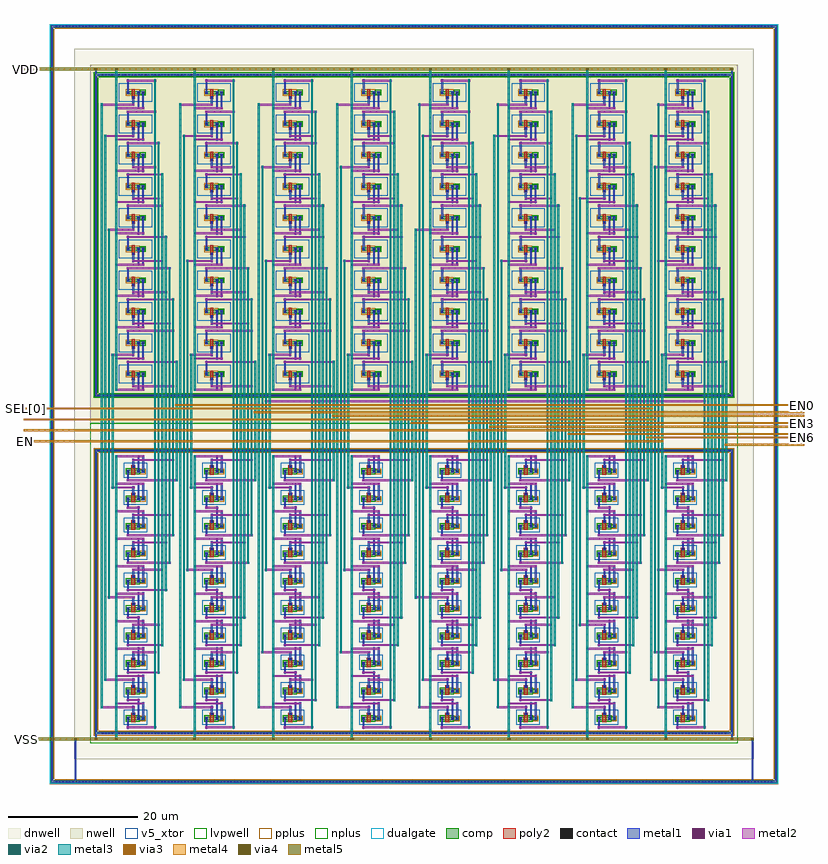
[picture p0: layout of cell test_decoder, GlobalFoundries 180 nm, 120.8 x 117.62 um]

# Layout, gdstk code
import gdstk
lib = gdstk.Library(unit=1e-6, precision=5e-09)
def R(c, l, rs):  # rectangles x0, y0, x1, y1
    for r in rs: c.add(gdstk.rectangle(r[:2], r[2:], *l))
def A(c, l, x, y, w, h, nx, ny, dx, dy):  # array of equal rectangles
    R(c, l, [(x+i*dx, y+j*dy, x+i*dx+w, y+j*dy+h) for i in range(nx) for j in range(ny)])
def P(c, l, *ps):  # polygons
    for p in ps: c.add(gdstk.Polygon(p, *l))
dnwell = (12, 0)
nwell = (21, 0)
comp = (22, 0)
poly2 = (30, 0)
pplus = (31, 0)
nplus = (32, 0)
contact = (33, 0)
metal1 = (34, 0)
via1 = (35, 0)
metal2 = (36, 0)
via2 = (38, 0)
via3 = (40, 0)
via4 = (41, 0)
metal3 = (42, 0)
metal4 = (46, 0)
dualgate = (55, 0)
metal5 = (81, 0)
v5_xtor = (112, 1)
lvpwell = (204, 0)

nfet_1 = lib.new_cell('nfet$1')
R(nfet_1, comp, [(-0.42,0,0,0.5), (0,0,1.22,0.5), (1.22,0,1.64,0.5), (1.64,0,2.35,0.5)])
R(nfet_1, poly2, [(0.31,-0.3,0.91,0.8), (0.31,0.8,0.91,1.16)])
R(nfet_1, pplus, [(1.64,-0.17,2.52,0.67)])
R(nfet_1, nplus, [(-0.59,-0.24,1.64,0.74)])
R(nfet_1, contact, [(-0.32,0.14,-0.1,0.36), (1.32,0.14,1.54,0.36), (2.03,0.14,2.25,0.36), (0.5,0.87,0.72,1.09)])
R(nfet_1, metal1, [(-0.4,0.06,-0.02,0.44), (1.24,0.06,1.62,0.44), (1.95,0.06,2.33,0.44), (0.42,0.79,0.8,1.17)])
R(nfet_1, dualgate, [(-0.84,-0.71,2.77,1.58)])
R(nfet_1, v5_xtor, [(-0.84,-0.71,2.77,1.58)])

pfet_1 = lib.new_cell('pfet$1')
R(pfet_1, nwell, [(-1.15,-0.69,3,1.19)])
R(pfet_1, comp, [(-0.46,0,0,0.5), (0,0,1.12,0.5), (1.12,0,1.58,0.5), (1.58,0,2.31,0.5)])
R(pfet_1, poly2, [(0.31,-0.68,0.81,-0.3), (0.31,-0.3,0.81,0.8)])
R(pfet_1, pplus, [(-0.63,-0.24,1.58,0.74)])
R(pfet_1, nplus, [(1.58,-0.17,2.48,0.67)])
R(pfet_1, contact, [(0.45,-0.6,0.67,-0.38), (-0.34,0.14,-0.12,0.36), (1.24,0.14,1.46,0.36), (1.97,0.14,2.19,0.36)])
R(pfet_1, metal1, [(0.37,-0.68,0.75,-0.3), (-0.42,0.06,-0.04,0.44), (1.16,0.06,1.54,0.44), (1.89,0.06,2.27,0.44)])
R(pfet_1, dualgate, [(-1.65,-1.19,3.5,1.69)])
R(pfet_1, v5_xtor, [(-1.65,-1.19,3.5,1.69)])

test_decoder = lib.new_cell('test_decoder')
R(test_decoder, dnwell, [(-293.04,2.505,-187.88,112.485)])
R(test_decoder, nwell, [(-290.54,54.545,-190.38,109.985)])
P(test_decoder, comp, [(-289.87,58.615),(-289.87,108.255),(-289.49,108.255),(-289.49,58.995),(-191.43,58.995),(-191.43,108.255),(-289.87,108.255),(-289.87,108.635),(-191.05,108.635),(-191.05,58.615)],
  [(-289.87,6.355),(-289.87,50.095),(-289.49,50.095),(-289.49,6.735),(-191.43,6.735),(-191.43,50.095),(-289.87,50.095),(-289.87,50.475),(-191.05,50.475),(-191.05,6.355)],
  [(-296.69,-1.145),(-296.69,115.755),(-296.31,115.755),(-296.31,-0.765),(-184.61,-0.765),(-184.61,115.755),(-296.69,115.755),(-296.69,116.135),(-184.23,116.135),(-184.23,-1.145)])
P(test_decoder, pplus, [(-290.04,6.185),(-290.04,49.925),(-289.32,49.925),(-289.32,6.905),(-191.6,6.905),(-191.6,49.925),(-290.04,49.925),(-290.04,50.645),(-190.88,50.645),(-190.88,6.185)],
  [(-296.86,-1.315),(-296.86,115.585),(-296.14,115.585),(-296.14,-0.595),(-184.78,-0.595),(-184.78,115.585),(-296.86,115.585),(-296.86,116.305),(-184.06,116.305),(-184.06,-1.315)])
P(test_decoder, nplus, [(-290.04,58.445),(-290.04,108.085),(-289.32,108.085),(-289.32,59.165),(-191.6,59.165),(-191.6,108.085),(-290.04,108.085),(-290.04,108.805),(-190.88,108.805),(-190.88,58.445)])
A(test_decoder, contact, -295.905, -1.065, 0.22, 0.22, 218, 2, 0.51, 116.9)
A(test_decoder, contact, -296.61, -0.245, 0.22, 0.22, 1, 227, 0, 0.51)
A(test_decoder, contact, -184.53, -0.245, 0.22, 0.22, 1, 227, 0, 0.51)
A(test_decoder, contact, -288.765, 6.435, 0.22, 0.22, 190, 2, 0.51, 43.74)
A(test_decoder, contact, -289.79, 7.395, 0.22, 0.22, 1, 83, 0, 0.51)
A(test_decoder, contact, -191.35, 7.395, 0.22, 0.22, 1, 83, 0, 0.51)
A(test_decoder, contact, -288.765, 58.695, 0.22, 0.22, 190, 2, 0.51, 49.64)
A(test_decoder, contact, -289.79, 59.8, 0.22, 0.22, 1, 94, 0, 0.51)
A(test_decoder, contact, -191.35, 59.8, 0.22, 0.22, 1, 94, 0, 0.51)
A(test_decoder, metal1, -284.85, 7.255, 0.26, 1.7, 8, 10, 12.15, 4.25)
A(test_decoder, metal1, -282.5, 8.695, 0.26, 2.63, 1, 4, 0, 4.25)
A(test_decoder, metal1, -233.9, 8.695, 0.26, 2.63, 1, 4, 0, 4.25)
A(test_decoder, metal1, -221.75, 8.695, 0.26, 2.63, 1, 4, 0, 4.25)
A(test_decoder, metal1, -209.6, 8.695, 0.26, 2.63, 1, 4, 0, 4.25)
A(test_decoder, metal1, -197.45, 8.695, 0.26, 2.63, 1, 4, 0, 4.25)
A(test_decoder, metal1, -284.03, 9.425, 0.26, 1.34, 8, 10, 12.15, 4.25)
A(test_decoder, metal1, -271.06, 12.945, 0.26, 2.63, 1, 3, 0, 4.25)
A(test_decoder, metal1, -270.35, 12.945, 0.26, 2.63, 3, 1, 12.15, 0)
A(test_decoder, metal1, -246.76, 12.945, 0.26, 3.19, 3, 1, 24.3, 0)
A(test_decoder, metal1, -234.61, 12.945, 0.26, 2.63, 1, 3, 0, 4.25)
A(test_decoder, metal1, -210.31, 12.945, 0.26, 2.63, 1, 3, 0, 4.25)
A(test_decoder, metal1, -283.21, 25.695, 0.26, 2.63, 1, 3, 0, 4.25)
A(test_decoder, metal1, -282.5, 25.695, 0.26, 2.63, 8, 2, 12.15, 12.75)
A(test_decoder, metal1, -271.06, 25.695, 0.26, 3.19, 7, 1, 12.15, 0)
A(test_decoder, metal1, -283.21, 38.445, 0.26, 3.19, 8, 1, 12.15, 0)
A(test_decoder, metal1, -283.25, 59.515, 0.26, 2.74, 1, 10, 0, 4.84)
A(test_decoder, metal1, -282.52, 59.515, 0.26, 2.74, 1, 10, 0, 4.84)
A(test_decoder, metal1, -271.1, 59.515, 0.26, 2.74, 1, 10, 0, 4.84)
A(test_decoder, metal1, -270.37, 59.515, 0.26, 2.74, 1, 10, 0, 4.84)
A(test_decoder, metal1, -258.95, 59.515, 0.26, 2.74, 1, 10, 0, 4.84)
A(test_decoder, metal1, -258.22, 59.515, 0.26, 2.74, 1, 10, 0, 4.84)
A(test_decoder, metal1, -246.8, 59.515, 0.26, 2.74, 1, 10, 0, 4.84)
A(test_decoder, metal1, -246.07, 59.515, 0.26, 2.74, 1, 10, 0, 4.84)
A(test_decoder, metal1, -234.65, 59.515, 0.26, 2.74, 1, 10, 0, 4.84)
A(test_decoder, metal1, -233.92, 59.515, 0.26, 2.74, 1, 10, 0, 4.84)
A(test_decoder, metal1, -222.5, 59.515, 0.26, 2.74, 1, 10, 0, 4.84)
A(test_decoder, metal1, -221.77, 59.515, 0.26, 2.74, 1, 10, 0, 4.84)
A(test_decoder, metal1, -210.35, 59.515, 0.26, 2.74, 1, 10, 0, 4.84)
A(test_decoder, metal1, -209.62, 59.515, 0.26, 2.74, 1, 10, 0, 4.84)
A(test_decoder, metal1, -198.2, 59.515, 0.26, 2.74, 1, 10, 0, 4.84)
A(test_decoder, metal1, -197.47, 59.515, 0.26, 2.74, 1, 10, 0, 4.84)
A(test_decoder, metal1, -284.04, 60.075, 0.26, 1.44, 8, 10, 12.15, 4.84)
A(test_decoder, metal1, -284.83, 61.995, 0.26, 2.18, 8, 10, 12.15, 4.84)
R(test_decoder, metal1, [(-283.21,8.695,-282.95,11.885), (-271.06,8.695,-270.8,11.885), (-270.35,8.695,-270.09,11.325), (-258.91,8.695,-258.65,11.325), (-258.2,8.695,-257.94,11.325), (-246.76,8.695,-246.5,11.325), (-246.05,8.695,-245.79,11.325), (-234.61,8.695,-234.35,11.885), (-222.46,8.695,-222.2,11.325), (-210.31,8.695,-210.05,11.885), (-198.16,8.695,-197.9,11.325), (-283.21,12.945,-282.95,15.575), (-258.91,12.945,-258.65,16.135), (-283.21,17.195,-282.95,19.825), (-270.35,17.195,-270.09,19.825), (-258.91,17.195,-258.65,19.825), (-258.2,17.195,-257.94,19.825), (-246.76,17.195,-246.5,19.825), (-246.05,17.195,-245.79,19.825), (-222.46,17.195,-222.2,19.825), (-198.16,17.195,-197.9,19.825), (-283.21,21.445,-282.95,24.635), (-270.35,21.445,-270.09,24.075), (-258.91,21.445,-258.65,24.075), (-258.2,21.445,-257.94,24.075), (-246.76,21.445,-246.5,24.075), (-246.05,21.445,-245.79,24.075), (-222.46,21.445,-222.2,24.075), (-198.16,21.445,-197.9,24.075), (-282.5,29.945,-282.24,32.575), (-271.06,29.945,-270.8,32.575), (-270.35,29.945,-270.09,32.575), (-258.91,29.945,-258.65,32.575), (-258.2,29.945,-257.94,32.575), (-246.76,29.945,-246.5,32.575), (-246.05,29.945,-245.79,32.575), (-234.61,29.945,-234.35,32.575), (-233.9,29.945,-233.64,32.575), (-222.46,29.945,-222.2,32.575), (-221.75,29.945,-221.49,32.575), (-210.31,29.945,-210.05,32.575), (-209.6,29.945,-209.34,32.575), (-198.16,29.945,-197.9,32.575), (-197.45,29.945,-197.19,32.575), (-282.5,34.195,-282.24,36.825), (-271.06,34.195,-270.8,36.825), (-270.35,34.195,-270.09,36.825), (-258.91,34.195,-258.65,36.825), (-258.2,34.195,-257.94,36.825), (-246.76,34.195,-246.5,36.825), (-246.05,34.195,-245.79,36.825), (-234.61,34.195,-234.35,36.825), (-233.9,34.195,-233.64,36.825), (-222.46,34.195,-222.2,36.825), (-221.75,34.195,-221.49,36.825), (-210.31,34.195,-210.05,36.825), (-209.6,34.195,-209.34,36.825), (-198.16,34.195,-197.9,36.825), (-197.45,34.195,-197.19,36.825), (-283.21,42.695,-282.95,45.325), (-282.5,42.695,-282.24,45.325), (-271.06,42.695,-270.8,45.325), (-270.35,42.695,-270.09,45.325), (-258.91,42.695,-258.65,45.325), (-258.2,42.695,-257.94,45.325), (-246.76,42.695,-246.5,45.325), (-246.05,42.695,-245.79,45.325), (-234.61,42.695,-234.35,45.325), (-233.9,42.695,-233.64,45.325), (-222.46,42.695,-222.2,45.325), (-221.75,42.695,-221.49,45.325), (-210.31,42.695,-210.05,45.325), (-209.6,42.695,-209.34,45.325), (-198.16,42.695,-197.9,45.325), (-197.45,42.695,-197.19,45.325), (-283.21,46.945,-282.95,49.575), (-282.5,46.945,-282.24,49.575), (-271.06,46.945,-270.8,49.575), (-270.35,46.945,-270.09,49.575), (-258.91,46.945,-258.65,49.575), (-258.2,46.945,-257.94,49.575), (-246.76,46.945,-246.5,49.575), (-246.05,46.945,-245.79,49.575), (-234.61,46.945,-234.35,49.575), (-233.9,46.945,-233.64,49.575), (-222.46,46.945,-222.2,49.575), (-221.75,46.945,-221.49,49.575), (-210.31,46.945,-210.05,49.575), (-209.6,46.945,-209.34,49.575), (-198.16,46.945,-197.9,49.575), (-197.45,46.945,-197.19,49.575)])
P(test_decoder, metal1, [(-289.81,58.675),(-289.81,108.315),(-289.55,108.315),(-289.55,58.935),(-191.37,58.935),(-191.37,108.315),(-289.81,108.315),(-289.81,109.535),(-289.55,109.535),(-289.55,108.575),(-191.37,108.575),(-191.37,109.535),(-191.11,109.535),(-191.11,58.675)],
  [(-289.81,5.455),(-289.81,50.155),(-289.55,50.155),(-289.55,6.675),(-191.37,6.675),(-191.37,50.155),(-289.81,50.155),(-289.81,50.415),(-191.11,50.415),(-191.11,5.455),(-191.37,5.455),(-191.37,6.415),(-289.55,6.415),(-289.55,5.455)],
  [(-296.63,-1.085),(-296.63,115.815),(-296.37,115.815),(-296.37,-0.825),(-292.98,-0.825),(-292.98,5.835),(-292.72,5.835),(-292.72,-0.825),(-188.2,-0.825),(-188.2,5.835),(-187.94,5.835),(-187.94,-0.825),(-184.55,-0.825),(-184.55,115.815),(-296.63,115.815),(-296.63,116.075),(-184.29,116.075),(-184.29,-1.085)])
A(test_decoder, via1, -284.85, 7.315, 0.26, 0.26, 8, 3, 12.15, 12.75)
A(test_decoder, via1, -284.03, 10.445, 0.26, 0.26, 8, 10, 12.15, 4.25)
A(test_decoder, via1, -282.5, 11.005, 0.26, 0.26, 1, 4, 0, 4.25)
A(test_decoder, via1, -233.9, 11.005, 0.26, 0.26, 1, 4, 0, 4.25)
A(test_decoder, via1, -221.75, 11.005, 0.26, 0.26, 1, 4, 0, 4.25)
A(test_decoder, via1, -209.6, 11.005, 0.26, 0.26, 1, 4, 0, 4.25)
A(test_decoder, via1, -197.45, 11.005, 0.26, 0.26, 1, 4, 0, 4.25)
A(test_decoder, via1, -260.55, 11.565, 0.26, 0.26, 3, 1, 12.15, 0)
A(test_decoder, via1, -271.06, 15.255, 0.26, 0.26, 1, 3, 0, 4.25)
A(test_decoder, via1, -270.35, 15.255, 0.26, 0.26, 3, 1, 12.15, 0)
A(test_decoder, via1, -234.61, 15.255, 0.26, 0.26, 1, 3, 0, 4.25)
A(test_decoder, via1, -210.31, 15.255, 0.26, 0.26, 1, 3, 0, 4.25)
A(test_decoder, via1, -284.85, 15.815, 0.26, 0.26, 3, 1, 12.15, 0)
A(test_decoder, via1, -248.4, 15.815, 0.26, 0.26, 1, 3, 0, 12.75)
A(test_decoder, via1, -236.25, 15.815, 0.26, 0.26, 1, 3, 0, 12.75)
A(test_decoder, via1, -224.1, 15.815, 0.26, 0.26, 1, 3, 0, 12.75)
A(test_decoder, via1, -211.95, 15.815, 0.26, 0.26, 1, 3, 0, 12.75)
A(test_decoder, via1, -199.8, 15.815, 0.26, 0.26, 1, 3, 0, 12.75)
A(test_decoder, via1, -272.7, 24.315, 0.26, 0.26, 7, 1, 12.15, 0)
A(test_decoder, via1, -283.21, 28.005, 0.26, 0.26, 1, 3, 0, 4.25)
A(test_decoder, via1, -282.5, 28.005, 0.26, 0.26, 8, 2, 12.15, 12.75)
A(test_decoder, via1, -284.85, 37.065, 0.26, 0.26, 8, 2, 12.15, 8.5)
A(test_decoder, via1, -283.25, 59.575, 0.26, 0.26, 1, 10, 0, 4.84)
A(test_decoder, via1, -282.52, 59.575, 0.26, 0.26, 1, 10, 0, 4.84)
A(test_decoder, via1, -271.1, 59.575, 0.26, 0.26, 1, 10, 0, 4.84)
A(test_decoder, via1, -270.37, 59.575, 0.26, 0.26, 1, 10, 0, 4.84)
A(test_decoder, via1, -258.95, 59.575, 0.26, 0.26, 1, 10, 0, 4.84)
A(test_decoder, via1, -258.22, 59.575, 0.26, 0.26, 1, 10, 0, 4.84)
A(test_decoder, via1, -246.8, 59.575, 0.26, 0.26, 1, 10, 0, 4.84)
A(test_decoder, via1, -246.07, 59.575, 0.26, 0.26, 1, 10, 0, 4.84)
A(test_decoder, via1, -234.65, 59.575, 0.26, 0.26, 1, 10, 0, 4.84)
A(test_decoder, via1, -233.92, 59.575, 0.26, 0.26, 1, 10, 0, 4.84)
A(test_decoder, via1, -222.5, 59.575, 0.26, 0.26, 1, 10, 0, 4.84)
A(test_decoder, via1, -221.77, 59.575, 0.26, 0.26, 1, 10, 0, 4.84)
A(test_decoder, via1, -210.35, 59.575, 0.26, 0.26, 1, 10, 0, 4.84)
A(test_decoder, via1, -209.62, 59.575, 0.26, 0.26, 1, 10, 0, 4.84)
A(test_decoder, via1, -198.2, 59.575, 0.26, 0.26, 1, 10, 0, 4.84)
A(test_decoder, via1, -197.47, 59.575, 0.26, 0.26, 1, 10, 0, 4.84)
A(test_decoder, via1, -284.04, 60.135, 0.26, 0.26, 8, 10, 12.15, 4.84)
A(test_decoder, via1, -284.83, 63.855, 0.26, 0.26, 8, 10, 12.15, 4.84)
R(test_decoder, via1, [(-292.98,5.515,-292.72,5.775), (-289.81,5.515,-289.55,5.775), (-191.37,5.515,-191.11,5.775), (-188.2,5.515,-187.94,5.775), (-270.35,11.005,-270.09,11.265), (-258.91,11.005,-258.65,11.265), (-258.2,11.005,-257.94,11.265), (-246.76,11.005,-246.5,11.265), (-246.05,11.005,-245.79,11.265), (-222.46,11.005,-222.2,11.265), (-198.16,11.005,-197.9,11.265), (-284.85,11.565,-284.59,11.825), (-283.21,11.565,-282.95,11.825), (-272.7,11.565,-272.44,11.825), (-271.06,11.565,-270.8,11.825), (-234.61,11.565,-234.35,11.825), (-224.1,11.565,-223.84,11.825), (-211.95,11.565,-211.69,11.825), (-210.31,11.565,-210.05,11.825), (-199.8,11.565,-199.54,11.825), (-283.21,15.255,-282.95,15.515), (-258.91,15.815,-258.65,16.075), (-246.76,15.815,-246.5,16.075), (-222.46,15.815,-222.2,16.075), (-198.16,15.815,-197.9,16.075), (-283.21,19.505,-282.95,19.765), (-270.35,19.505,-270.09,19.765), (-258.91,19.505,-258.65,19.765), (-258.2,19.505,-257.94,19.765), (-246.76,19.505,-246.5,19.765), (-246.05,19.505,-245.79,19.765), (-222.46,19.505,-222.2,19.765), (-198.16,19.505,-197.9,19.765), (-270.35,23.755,-270.09,24.015), (-258.91,23.755,-258.65,24.015), (-258.2,23.755,-257.94,24.015), (-246.76,23.755,-246.5,24.015), (-246.05,23.755,-245.79,24.015), (-222.46,23.755,-222.2,24.015), (-198.16,23.755,-197.9,24.015), (-284.85,24.315,-284.59,24.575), (-283.21,24.315,-282.95,24.575), (-284.85,28.565,-284.59,28.825), (-272.7,28.565,-272.44,28.825), (-271.06,28.565,-270.8,28.825), (-260.55,28.565,-260.29,28.825), (-258.91,28.565,-258.65,28.825), (-246.76,28.565,-246.5,28.825), (-234.61,28.565,-234.35,28.825), (-222.46,28.565,-222.2,28.825), (-210.31,28.565,-210.05,28.825), (-198.16,28.565,-197.9,28.825), (-282.5,32.255,-282.24,32.515), (-271.06,32.255,-270.8,32.515), (-270.35,32.255,-270.09,32.515), (-258.91,32.255,-258.65,32.515), (-258.2,32.255,-257.94,32.515), (-246.76,32.255,-246.5,32.515), (-246.05,32.255,-245.79,32.515), (-234.61,32.255,-234.35,32.515), (-233.9,32.255,-233.64,32.515), (-222.46,32.255,-222.2,32.515), (-221.75,32.255,-221.49,32.515), (-210.31,32.255,-210.05,32.515), (-209.6,32.255,-209.34,32.515), (-198.16,32.255,-197.9,32.515), (-197.45,32.255,-197.19,32.515), (-282.5,36.505,-282.24,36.765), (-271.06,36.505,-270.8,36.765), (-270.35,36.505,-270.09,36.765), (-258.91,36.505,-258.65,36.765), (-258.2,36.505,-257.94,36.765), (-246.76,36.505,-246.5,36.765), (-246.05,36.505,-245.79,36.765), (-234.61,36.505,-234.35,36.765), (-233.9,36.505,-233.64,36.765), (-222.46,36.505,-222.2,36.765), (-221.75,36.505,-221.49,36.765), (-210.31,36.505,-210.05,36.765), (-209.6,36.505,-209.34,36.765), (-198.16,36.505,-197.9,36.765), (-197.45,36.505,-197.19,36.765), (-284.85,41.315,-284.59,41.575), (-283.21,41.315,-282.95,41.575), (-272.7,41.315,-272.44,41.575), (-271.06,41.315,-270.8,41.575), (-260.55,41.315,-260.29,41.575), (-258.91,41.315,-258.65,41.575), (-246.76,41.315,-246.5,41.575), (-234.61,41.315,-234.35,41.575), (-222.46,41.315,-222.2,41.575), (-210.31,41.315,-210.05,41.575), (-198.16,41.315,-197.9,41.575), (-283.21,45.005,-282.95,45.265), (-282.5,45.005,-282.24,45.265), (-271.06,45.005,-270.8,45.265), (-270.35,45.005,-270.09,45.265), (-258.91,45.005,-258.65,45.265), (-258.2,45.005,-257.94,45.265), (-246.76,45.005,-246.5,45.265), (-246.05,45.005,-245.79,45.265), (-234.61,45.005,-234.35,45.265), (-233.9,45.005,-233.64,45.265), (-222.46,45.005,-222.2,45.265), (-221.75,45.005,-221.49,45.265), (-210.31,45.005,-210.05,45.265), (-209.6,45.005,-209.34,45.265), (-198.16,45.005,-197.9,45.265), (-197.45,45.005,-197.19,45.265), (-283.21,49.255,-282.95,49.515), (-282.5,49.255,-282.24,49.515), (-271.06,49.255,-270.8,49.515), (-270.35,49.255,-270.09,49.515), (-258.91,49.255,-258.65,49.515), (-258.2,49.255,-257.94,49.515), (-246.76,49.255,-246.5,49.515), (-246.05,49.255,-245.79,49.515), (-234.61,49.255,-234.35,49.515), (-233.9,49.255,-233.64,49.515), (-222.46,49.255,-222.2,49.515), (-221.75,49.255,-221.49,49.515), (-210.31,49.255,-210.05,49.515), (-209.6,49.255,-209.34,49.515), (-198.16,49.255,-197.9,49.515), (-197.45,49.255,-197.19,49.515), (-289.81,109.215,-289.55,109.475), (-191.37,109.215,-191.11,109.475)])
A(test_decoder, metal2, -284.91, 7.305, 4.55, 0.28, 8, 1, 12.15, 0)
A(test_decoder, metal2, -288.97, 10.435, 5.26, 0.28, 4, 1, 12.15, 0)
A(test_decoder, metal2, -286.73, 10.995, 4.55, 0.28, 8, 10, 12.15, 4.25)
A(test_decoder, metal2, -248.46, 11.555, 5.11, 0.28, 3, 1, 24.3, 0)
A(test_decoder, metal2, -248.46, 15.805, 2.02, 0.28, 3, 1, 24.3, 0)
A(test_decoder, metal2, -235.49, 18.935, 3.73, 0.28, 3, 1, 12.15, 0)
A(test_decoder, metal2, -284.91, 20.055, 5.67, 0.28, 8, 1, 12.15, 0)
A(test_decoder, metal2, -284.09, 23.185, 4.29, 0.28, 6, 1, 12.15, 0)
A(test_decoder, metal2, -272.76, 24.305, 6.23, 0.28, 7, 1, 12.15, 0)
A(test_decoder, metal2, -271.94, 27.435, 4.85, 0.28, 3, 1, 12.15, 0)
A(test_decoder, metal2, -272.76, 28.555, 2.02, 0.28, 7, 1, 12.15, 0)
A(test_decoder, metal2, -275.7, 31.685, 4.14, 0.28, 3, 1, 12.15, 0)
A(test_decoder, metal2, -284.91, 32.805, 6.79, 0.28, 8, 1, 12.15, 0)
A(test_decoder, metal2, -284.09, 35.935, 5.41, 0.28, 8, 1, 12.15, 0)
A(test_decoder, metal2, -284.91, 37.055, 7.35, 0.28, 8, 1, 12.15, 0)
A(test_decoder, metal2, -284.09, 40.185, 5.97, 0.28, 8, 1, 12.15, 0)
A(test_decoder, metal2, -284.91, 41.305, 2.02, 0.28, 8, 1, 12.15, 0)
A(test_decoder, metal2, -287.29, 44.435, 3.58, 0.28, 8, 1, 12.15, 0)
A(test_decoder, metal2, -284.91, 45.555, 7.91, 0.28, 8, 1, 12.15, 0)
A(test_decoder, metal2, -284.09, 48.685, 6.53, 0.28, 8, 1, 12.15, 0)
A(test_decoder, metal2, -286.73, 59.565, 4.53, 0.28, 8, 10, 12.15, 4.84)
A(test_decoder, metal2, -284.1, 60.125, 6.54, 0.28, 8, 1, 12.15, 0)
A(test_decoder, metal2, -284.89, 63.845, 7.89, 0.28, 8, 1, 12.15, 0)
A(test_decoder, metal2, -287.29, 64.965, 3.57, 0.28, 8, 1, 12.15, 0)
A(test_decoder, metal2, -284.89, 68.685, 7.33, 0.28, 8, 2, 12.15, 4.84)
A(test_decoder, metal2, -284.1, 69.805, 5.98, 0.28, 8, 1, 12.15, 0)
A(test_decoder, metal2, -284.1, 74.645, 5.42, 0.28, 8, 1, 12.15, 0)
A(test_decoder, metal2, -284.89, 78.365, 6.77, 0.28, 8, 1, 12.15, 0)
A(test_decoder, metal2, -275.7, 79.485, 4.13, 0.28, 3, 1, 12.15, 0)
A(test_decoder, metal2, -284.89, 83.205, 6.21, 0.28, 8, 1, 12.15, 0)
A(test_decoder, metal2, -271.95, 84.325, 4.86, 0.28, 3, 1, 12.15, 0)
A(test_decoder, metal2, -272.74, 88.045, 6.21, 0.28, 7, 1, 12.15, 0)
A(test_decoder, metal2, -284.1, 89.165, 4.3, 0.28, 6, 1, 12.15, 0)
A(test_decoder, metal2, -284.89, 92.885, 5.65, 0.28, 8, 1, 12.15, 0)
A(test_decoder, metal2, -235.5, 94.005, 3.74, 0.28, 3, 1, 12.15, 0)
A(test_decoder, metal2, -284.89, 97.725, 5.09, 0.28, 8, 1, 12.15, 0)
A(test_decoder, metal2, -248.44, 102.565, 5.09, 0.28, 3, 1, 24.3, 0)
A(test_decoder, metal2, -288.97, 103.685, 5.25, 0.28, 4, 1, 12.15, 0)
A(test_decoder, metal2, -284.89, 107.405, 4.53, 0.28, 8, 1, 12.15, 0)
R(test_decoder, metal2, [(-293.04,5.455,-292.66,5.835), (-289.87,5.455,-289.49,5.835), (-191.43,5.455,-191.05,5.835), (-188.26,5.455,-187.88,5.835), (-239.81,10.435,-235.11,10.715), (-227.66,10.435,-222.96,10.715), (-216.07,10.435,-210.81,10.715), (-202.8,10.435,-198.66,10.715), (-284.91,11.555,-282.89,11.835), (-272.76,11.555,-270.74,11.835), (-260.61,11.555,-255.5,11.835), (-236.31,11.555,-234.29,11.835), (-212.01,11.555,-209.99,11.835), (-288.41,14.685,-283.71,14.965), (-276.26,14.685,-271.56,14.965), (-259.79,14.685,-256.06,14.965), (-247.64,14.685,-243.91,14.965), (-239.25,14.685,-235.11,14.965), (-228.22,14.685,-222.96,14.965), (-215.51,14.685,-210.81,14.965), (-203.92,14.685,-198.66,14.965), (-284.91,15.805,-279.8,16.085), (-272.76,15.805,-267.65,16.085), (-260.61,15.805,-258.59,16.085), (-236.31,15.805,-231.2,16.085), (-212.01,15.805,-206.9,16.085), (-284.09,18.935,-280.36,19.215), (-271.94,18.935,-268.21,19.215), (-264.11,18.935,-259.41,19.215), (-251.96,18.935,-247.26,19.215), (-203.36,18.935,-198.66,19.215), (-214.95,23.185,-210.81,23.465), (-199.04,23.185,-194.75,23.465), (-284.91,24.305,-282.89,24.585), (-287.85,27.435,-283.71,27.715), (-240.37,27.435,-235.11,27.715), (-223.34,27.435,-218.49,27.715), (-211.19,27.435,-206.9,27.715), (-199.04,27.435,-194.19,27.715), (-284.91,28.555,-278.68,28.835), (-284.09,31.685,-279.24,31.965), (-235.49,31.685,-230.64,31.965), (-227.1,31.685,-222.96,31.965), (-211.19,31.685,-206.34,31.965), (-202.8,31.685,-198.66,31.965), (-263.55,57.765,-195.31,58.045), (-284.1,79.485,-279.24,79.765), (-235.5,79.485,-230.64,79.765), (-227.1,79.485,-222.97,79.765), (-211.2,79.485,-206.34,79.765), (-202.8,79.485,-198.67,79.765), (-287.85,84.325,-283.72,84.605), (-240.37,84.325,-235.12,84.605), (-223.35,84.325,-218.49,84.605), (-211.2,84.325,-206.9,84.605), (-199.05,84.325,-194.19,84.605), (-284.89,88.045,-279.24,88.325), (-214.95,89.165,-210.82,89.445), (-199.05,89.165,-194.75,89.445), (-284.1,94.005,-280.36,94.285), (-271.95,94.005,-268.21,94.285), (-264.11,94.005,-259.42,94.285), (-251.96,94.005,-247.27,94.285), (-203.36,94.005,-198.67,94.285), (-288.41,98.845,-283.72,99.125), (-276.26,98.845,-271.57,99.125), (-259.8,98.845,-256.06,99.125), (-247.65,98.845,-243.91,99.125), (-239.25,98.845,-235.12,99.125), (-228.22,98.845,-222.97,99.125), (-215.51,98.845,-210.82,99.125), (-203.92,98.845,-198.67,99.125), (-284.89,102.565,-280.36,102.845), (-272.74,102.565,-268.21,102.845), (-260.59,102.565,-255.5,102.845), (-236.29,102.565,-231.76,102.845), (-211.99,102.565,-207.46,102.845), (-239.81,103.685,-235.12,103.965), (-227.66,103.685,-222.97,103.965), (-216.07,103.685,-210.82,103.965), (-202.8,103.685,-198.67,103.965), (-289.87,109.155,-289.49,109.535), (-191.43,109.155,-191.05,109.535)])
A(test_decoder, via2, -280.68, 7.315, 0.26, 0.26, 8, 2, 12.15, 100.1)
A(test_decoder, via2, -288.91, 10.445, 0.26, 0.26, 4, 2, 12.15, 93.25)
A(test_decoder, via2, -286.67, 11.005, 0.26, 0.26, 8, 10, 12.15, 4.25)
A(test_decoder, via2, -243.67, 11.565, 0.26, 0.26, 3, 1, 24.3, 0)
A(test_decoder, via2, -232.08, 18.945, 0.26, 0.26, 3, 2, 12.15, 75.07)
A(test_decoder, via2, -279.56, 20.065, 0.26, 0.26, 8, 2, 12.15, 72.83)
A(test_decoder, via2, -280.12, 23.195, 0.26, 0.26, 6, 2, 12.15, 65.98)
A(test_decoder, via2, -266.85, 24.315, 0.26, 0.26, 7, 2, 12.15, 63.74)
A(test_decoder, via2, -267.41, 27.445, 0.26, 0.26, 3, 2, 12.15, 56.89)
A(test_decoder, via2, -275.64, 31.695, 0.26, 0.26, 3, 2, 12.15, 47.8)
A(test_decoder, via2, -278.44, 32.815, 0.26, 0.26, 8, 2, 12.15, 7.38)
A(test_decoder, via2, -279, 35.945, 0.26, 0.26, 8, 2, 12.15, 38.71)
A(test_decoder, via2, -277.88, 37.065, 0.26, 0.26, 8, 2, 12.15, 11.63)
A(test_decoder, via2, -287.23, 44.445, 0.26, 0.26, 8, 2, 12.15, 20.53)
A(test_decoder, via2, -277.32, 45.565, 0.26, 0.26, 8, 2, 12.15, 18.29)
A(test_decoder, via2, -286.67, 59.575, 0.26, 0.26, 8, 10, 12.15, 4.84)
A(test_decoder, via2, -277.88, 60.135, 0.26, 0.26, 8, 2, 12.15, 8.56)
A(test_decoder, via2, -278.44, 69.815, 0.26, 0.26, 8, 2, 12.15, 8.56)
A(test_decoder, via2, -277.88, 73.535, 0.26, 0.26, 8, 1, 12.15, 0)
A(test_decoder, via2, -279, 83.215, 0.26, 0.26, 8, 1, 12.15, 0)
A(test_decoder, via2, -280.12, 97.735, 0.26, 0.26, 8, 1, 12.15, 0)
R(test_decoder, via2, [(-292.98,5.515,-292.72,5.775), (-289.81,5.515,-289.55,5.775), (-191.37,5.515,-191.11,5.775), (-188.2,5.515,-187.94,5.775), (-239.75,10.445,-239.49,10.705), (-227.6,10.445,-227.34,10.705), (-216.01,10.445,-215.75,10.705), (-202.74,10.445,-202.48,10.705), (-255.82,11.565,-255.56,11.825), (-288.35,14.695,-288.09,14.955), (-276.2,14.695,-275.94,14.955), (-256.38,14.695,-256.12,14.955), (-244.23,14.695,-243.97,14.955), (-239.19,14.695,-238.93,14.955), (-228.16,14.695,-227.9,14.955), (-215.45,14.695,-215.19,14.955), (-203.86,14.695,-203.6,14.955), (-280.12,15.815,-279.86,16.075), (-267.97,15.815,-267.71,16.075), (-231.52,15.815,-231.26,16.075), (-207.22,15.815,-206.96,16.075), (-280.68,18.945,-280.42,19.205), (-268.53,18.945,-268.27,19.205), (-264.05,18.945,-263.79,19.205), (-251.9,18.945,-251.64,19.205), (-203.3,18.945,-203.04,19.205), (-214.89,23.195,-214.63,23.455), (-195.07,23.195,-194.81,23.455), (-287.79,27.445,-287.53,27.705), (-240.31,27.445,-240.05,27.705), (-218.81,27.445,-218.55,27.705), (-207.22,27.445,-206.96,27.705), (-194.51,27.445,-194.25,27.705), (-279,28.565,-278.74,28.825), (-279.56,31.695,-279.3,31.955), (-230.96,31.695,-230.7,31.955), (-227.04,31.695,-226.78,31.955), (-206.66,31.695,-206.4,31.955), (-202.74,31.695,-202.48,31.955), (-263.49,57.775,-263.23,58.035), (-195.63,57.775,-195.37,58.035), (-279.56,79.495,-279.3,79.755), (-230.96,79.495,-230.7,79.755), (-227.04,79.495,-226.78,79.755), (-206.66,79.495,-206.4,79.755), (-202.74,79.495,-202.48,79.755), (-287.79,84.335,-287.53,84.595), (-240.31,84.335,-240.05,84.595), (-218.81,84.335,-218.55,84.595), (-207.22,84.335,-206.96,84.595), (-194.51,84.335,-194.25,84.595), (-279.56,88.055,-279.3,88.315), (-214.89,89.175,-214.63,89.435), (-195.07,89.175,-194.81,89.435), (-280.68,94.015,-280.42,94.275), (-268.53,94.015,-268.27,94.275), (-264.05,94.015,-263.79,94.275), (-251.9,94.015,-251.64,94.275), (-203.3,94.015,-203.04,94.275), (-288.35,98.855,-288.09,99.115), (-276.2,98.855,-275.94,99.115), (-256.38,98.855,-256.12,99.115), (-244.23,98.855,-243.97,99.115), (-239.19,98.855,-238.93,99.115), (-228.16,98.855,-227.9,99.115), (-215.45,98.855,-215.19,99.115), (-203.86,98.855,-203.6,99.115), (-280.68,102.575,-280.42,102.835), (-268.53,102.575,-268.27,102.835), (-255.82,102.575,-255.56,102.835), (-243.67,102.575,-243.41,102.835), (-232.08,102.575,-231.82,102.835), (-219.37,102.575,-219.11,102.835), (-207.78,102.575,-207.52,102.835), (-195.07,102.575,-194.81,102.835), (-239.75,103.695,-239.49,103.955), (-227.6,103.695,-227.34,103.955), (-216.01,103.695,-215.75,103.955), (-202.74,103.695,-202.48,103.955), (-289.81,109.215,-289.55,109.475), (-191.37,109.215,-191.11,109.475)])
A(test_decoder, via3, -286.67, 5.515, 0.26, 0.26, 8, 2, 12.15, 103.7)
A(test_decoder, via3, -287.23, 51.615, 0.26, 0.26, 8, 1, 12.15, 0)
A(test_decoder, via3, -251.34, 53.295, 0.26, 0.26, 5, 1, 12.15, 0)
A(test_decoder, via3, -288.35, 54.975, 0.26, 0.26, 8, 1, 12.15, 0)
A(test_decoder, via3, -288.91, 56.655, 0.26, 0.26, 8, 1, 12.15, 0)
R(test_decoder, via3, [(-292.98,5.515,-292.72,5.775), (-289.81,5.515,-289.55,5.775), (-191.37,5.515,-191.11,5.775), (-188.2,5.515,-187.94,5.775), (-192.27,51.055,-192.01,51.315), (-204.42,52.175,-204.16,52.435), (-216.57,52.735,-216.31,52.995), (-287.79,53.295,-287.53,53.555), (-275.64,53.295,-275.38,53.555), (-228.72,53.855,-228.46,54.115), (-240.87,54.415,-240.61,54.675), (-253.02,55.535,-252.76,55.795), (-265.17,56.095,-264.91,56.355), (-277.32,57.215,-277.06,57.475), (-289.81,109.215,-289.55,109.475), (-191.37,109.215,-191.11,109.475)])
A(test_decoder, via4, -286.67, 5.515, 0.26, 0.26, 8, 2, 12.15, 103.7)
R(test_decoder, via4, [(-292.98,5.515,-292.72,5.775), (-289.81,5.515,-289.55,5.775), (-191.37,5.515,-191.11,5.775), (-188.2,5.515,-187.94,5.775), (-289.81,109.215,-289.55,109.475), (-191.37,109.215,-191.11,109.475)])
A(test_decoder, metal3, -286.68, 5.455, 0.28, 44.12, 8, 1, 12.15, 0)
A(test_decoder, metal3, -280.69, 7.255, 0.28, 100.48, 8, 1, 12.15, 0)
A(test_decoder, metal3, -288.92, 10.385, 0.28, 93.63, 4, 1, 12.15, 0)
A(test_decoder, metal3, -243.68, 11.505, 0.28, 91.39, 3, 1, 24.3, 0)
A(test_decoder, metal3, -279.57, 20.005, 0.28, 73.21, 8, 1, 12.15, 0)
A(test_decoder, metal3, -266.86, 24.255, 0.28, 64.12, 7, 1, 12.15, 0)
A(test_decoder, metal3, -275.65, 31.635, 0.28, 48.18, 3, 1, 12.15, 0)
A(test_decoder, metal3, -278.45, 32.755, 0.28, 45.94, 8, 1, 12.15, 0)
A(test_decoder, metal3, -277.89, 37.005, 0.28, 36.85, 8, 1, 12.15, 0)
A(test_decoder, metal3, -287.24, 44.385, 0.28, 20.91, 8, 1, 12.15, 0)
A(test_decoder, metal3, -277.33, 45.505, 0.28, 18.67, 8, 1, 12.15, 0)
A(test_decoder, metal3, -286.68, 59.515, 0.28, 50.02, 8, 1, 12.15, 0)
R(test_decoder, metal3, [(-293.04,5.455,-292.66,5.835), (-289.87,5.455,-289.49,5.835), (-191.43,5.455,-191.05,5.835), (-188.26,5.455,-187.88,5.835), (-239.76,10.385,-239.48,104.015), (-227.61,10.385,-227.33,104.015), (-216.02,10.385,-215.74,104.015), (-202.75,10.385,-202.47,104.015), (-255.83,11.505,-255.55,102.895), (-288.36,14.635,-288.08,99.175), (-276.21,14.635,-275.93,99.175), (-239.2,14.635,-238.92,99.175), (-228.17,14.635,-227.89,99.175), (-215.46,14.635,-215.18,99.175), (-203.87,14.635,-203.59,99.175), (-280.13,15.755,-279.85,98.055), (-267.98,15.755,-267.7,98.055), (-231.53,15.755,-231.25,98.055), (-207.23,15.755,-206.95,98.055), (-264.06,18.885,-263.78,94.335), (-251.91,18.885,-251.63,94.335), (-203.31,18.885,-203.03,94.335), (-214.9,23.135,-214.62,89.495), (-287.8,27.385,-287.52,84.655), (-240.32,27.385,-240.04,84.655), (-279.01,28.505,-278.73,83.535), (-227.05,31.635,-226.77,79.815), (-289.87,109.155,-289.49,109.535), (-191.43,109.155,-191.05,109.535)])
A(test_decoder, metal4, -286.73, 5.455, 0.38, 0.38, 8, 2, 12.15, 103.7)
R(test_decoder, metal4, [(-293.04,5.455,-292.66,5.835), (-289.87,5.455,-289.49,5.835), (-191.43,5.455,-191.05,5.835), (-188.26,5.455,-187.88,5.835), (-192.33,51.045,-180.06,51.325), (-300.86,51.605,-201.86,51.885), (-204.48,52.165,-180.06,52.445), (-216.63,52.725,-180.06,53.005), (-300.86,53.285,-202.42,53.565), (-228.78,53.845,-180.06,54.125), (-240.93,54.405,-180.06,54.685), (-300.86,54.965,-202.98,55.245), (-253.08,55.525,-180.06,55.805), (-265.23,56.085,-180.06,56.365), (-300.86,56.645,-203.54,56.925), (-277.38,57.205,-180.06,57.485), (-289.87,109.155,-289.49,109.535), (-191.43,109.155,-191.05,109.535)])
R(test_decoder, dualgate, [(-296.86,-1.295,-184.06,116.305), (-293.04,2.505,-187.88,112.485)])
R(test_decoder, metal5, [(-300.86,5.425,-187.88,5.865), (-300.86,109.125,-191.05,109.565)])
R(test_decoder, lvpwell, [(-290.54,5.005,-190.38,54.545)])
r = gdstk.Reference(nfet_1, (-284.51,8.575)); r.repetition = gdstk.Repetition(1, 10, v1=(0,0), v2=(0,4.25)); test_decoder.add(r)
r = gdstk.Reference(pfet_1, (-284.47,61.875)); r.repetition = gdstk.Repetition(1, 10, v1=(0,0), v2=(0,4.84)); test_decoder.add(r)
r = gdstk.Reference(pfet_1, (-272.32,61.875)); r.repetition = gdstk.Repetition(1, 10, v1=(0,0), v2=(0,4.84)); test_decoder.add(r)
r = gdstk.Reference(pfet_1, (-260.17,61.875)); r.repetition = gdstk.Repetition(1, 10, v1=(0,0), v2=(0,4.84)); test_decoder.add(r)
r = gdstk.Reference(nfet_1, (-272.36,8.575)); r.repetition = gdstk.Repetition(1, 10, v1=(0,0), v2=(0,4.25)); test_decoder.add(r)
r = gdstk.Reference(pfet_1, (-248.02,61.875)); r.repetition = gdstk.Repetition(1, 10, v1=(0,0), v2=(0,4.84)); test_decoder.add(r)
r = gdstk.Reference(pfet_1, (-235.87,61.875)); r.repetition = gdstk.Repetition(1, 10, v1=(0,0), v2=(0,4.84)); test_decoder.add(r)
r = gdstk.Reference(pfet_1, (-223.72,61.875)); r.repetition = gdstk.Repetition(1, 10, v1=(0,0), v2=(0,4.84)); test_decoder.add(r)
r = gdstk.Reference(pfet_1, (-211.57,61.875)); r.repetition = gdstk.Repetition(1, 10, v1=(0,0), v2=(0,4.84)); test_decoder.add(r)
r = gdstk.Reference(pfet_1, (-199.42,61.875)); r.repetition = gdstk.Repetition(1, 10, v1=(0,0), v2=(0,4.84)); test_decoder.add(r)
r = gdstk.Reference(nfet_1, (-260.21,8.575)); r.repetition = gdstk.Repetition(1, 10, v1=(0,0), v2=(0,4.25)); test_decoder.add(r)
r = gdstk.Reference(nfet_1, (-248.06,8.575)); r.repetition = gdstk.Repetition(1, 10, v1=(0,0), v2=(0,4.25)); test_decoder.add(r)
r = gdstk.Reference(nfet_1, (-235.91,8.575)); r.repetition = gdstk.Repetition(1, 10, v1=(0,0), v2=(0,4.25)); test_decoder.add(r)
r = gdstk.Reference(nfet_1, (-223.76,8.575)); r.repetition = gdstk.Repetition(1, 10, v1=(0,0), v2=(0,4.25)); test_decoder.add(r)
r = gdstk.Reference(nfet_1, (-211.61,8.575)); r.repetition = gdstk.Repetition(1, 10, v1=(0,0), v2=(0,4.25)); test_decoder.add(r)
r = gdstk.Reference(nfet_1, (-199.46,8.575)); r.repetition = gdstk.Repetition(1, 10, v1=(0,0), v2=(0,4.25)); test_decoder.add(r)
test_decoder.add(gdstk.Label('VDD', (-300.6,109.305), layer=81, texttype=10))
test_decoder.add(gdstk.Label('VSS', (-300.495,5.605), layer=81, texttype=10))
test_decoder.add(gdstk.Label('EN', (-300.62,51.735), layer=46, texttype=10))
test_decoder.add(gdstk.Label('SEL[0]', (-300.455,56.76), layer=46, texttype=10))
test_decoder.add(gdstk.Label('SEL[1]', (-300.45,55.07), layer=46, texttype=10))
test_decoder.add(gdstk.Label('SEL[2]', (-300.475,53.39), layer=46, texttype=10))
test_decoder.add(gdstk.Label('EN0', (-180.365,57.315), layer=46, texttype=10))
test_decoder.add(gdstk.Label('EN1', (-180.355,56.19), layer=46, texttype=10))
test_decoder.add(gdstk.Label('EN2', (-180.355,55.64), layer=46, texttype=10))
test_decoder.add(gdstk.Label('EN3', (-180.39,54.515), layer=46, texttype=10))
test_decoder.add(gdstk.Label('EN4', (-180.39,53.955), layer=46, texttype=10))
test_decoder.add(gdstk.Label('EN5', (-180.405,52.825), layer=46, texttype=10))
test_decoder.add(gdstk.Label('EN6', (-180.39,52.265), layer=46, texttype=10))
test_decoder.add(gdstk.Label('EN7', (-180.38,51.16), layer=46, texttype=10))

lib.write_gds('test_decoder.gds')
